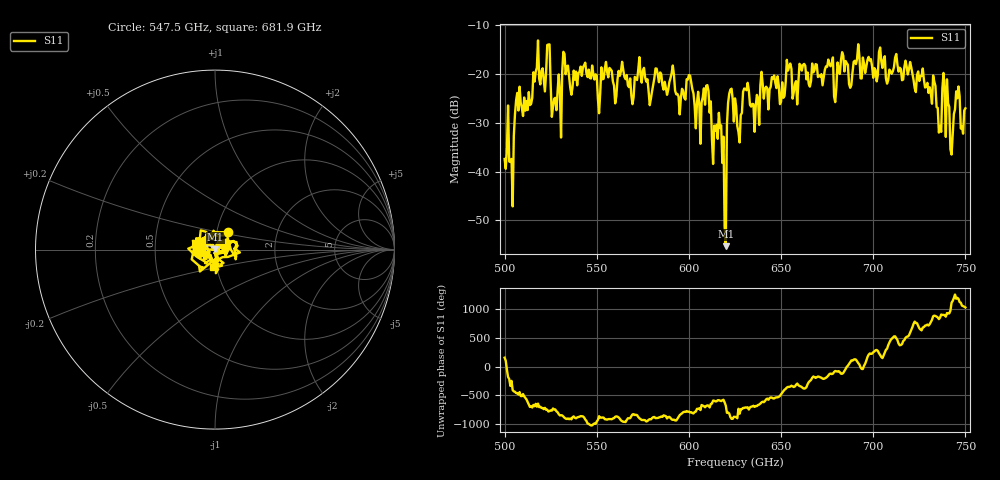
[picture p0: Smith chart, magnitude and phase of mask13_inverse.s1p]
!Created with skrf (http://scikit-rf.org).
# GHz S MA R 50.0
!freq magS11 angS11
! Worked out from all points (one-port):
!   401 points, 500 GHz to 750 GHz, reference 50 ohm
!   lowest |S11| = -55.3 dB at 620 GHz (marker M1), VSWR 1.00, Z = 50.1 + j0.107 ohm
!   |S11| at or under -10 dB: start of sweep to end of sweep
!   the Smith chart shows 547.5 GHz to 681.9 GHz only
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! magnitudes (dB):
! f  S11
! 500 GHz  -37.4
! 503.8 GHz  -37.4
! 506.9 GHz  -23.9
! 513.8 GHz  -26.4
! 516.9 GHz  -19.5
! 523.8 GHz  -13.9
! 526.9 GHz  -25.1
! 531.2 GHz  -19.5
! 562.5 GHz  -20.4
! 593.8 GHz  -24.1
! 600 GHz  -20.2
! 605 GHz  -23.6
! 609.4 GHz  -22.4
! 613.8 GHz  -30.6
! 617.5 GHz  -30.5
! 618.8 GHz  -32.8
! 620 GHz  -55.3
! 621.9 GHz  -24.0
! 625 GHz  -25.0
! 656.2 GHz  -25.0
! 687.5 GHz  -22.8
! 718.8 GHz  -20.1
! 733.8 GHz  -22.4
! 735.6 GHz  -32.0
! 738.8 GHz  -23.2
! 742.5 GHz  -36.5
! 745.6 GHz  -25.0
! 750 GHz  -27.0
